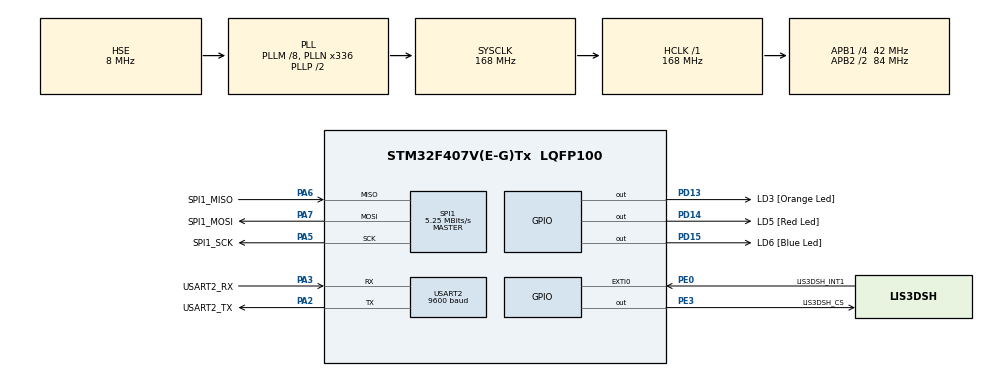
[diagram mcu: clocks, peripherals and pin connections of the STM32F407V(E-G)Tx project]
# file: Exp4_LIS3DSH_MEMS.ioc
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Mcu.Family=STM32F4
Mcu.Name=STM32F407V(E-G)Tx
Mcu.Package=LQFP100
NVIC.EXTI0_IRQn=true\:2\:0\:false\:false\:true\:true\:true\:true
NVIC.PriorityGroup=NVIC_PRIORITYGROUP_4
NVIC.USART2_IRQn=true\:1\:0\:false\:false\:true\:true\:true\:true
PA13.GPIO_Label=SWDIO
PA13.Signal=SYS_JTMS-SWDIO
PA14.GPIO_Label=SWCLK
PA14.Signal=SYS_JTCK-SWCLK
PA2.GPIO_Label=USART2_TX
PA2.GPIO_Mode=GPIO_MODE_AF_PP
PA2.GPIO_PuPd=GPIO_PULLUP
PA2.GPIO_Speed=GPIO_SPEED_FREQ_VERY_HIGH
PA2.Mode=Asynchronous
PA2.Signal=USART2_TX
PA3.GPIO_Label=USART2_RX
PA3.GPIO_Mode=GPIO_MODE_AF_PP
PA3.GPIO_PuPd=GPIO_PULLUP
PA3.GPIO_Speed=GPIO_SPEED_FREQ_VERY_HIGH
PA3.Mode=Asynchronous
PA3.Signal=USART2_RX
PA5.GPIO_Label=SPI1_SCK
PA5.GPIO_Mode=GPIO_MODE_AF_PP
PA5.GPIO_PuPd=GPIO_NOPULL
PA5.GPIO_Speed=GPIO_SPEED_FREQ_VERY_HIGH
PA5.Mode=Full_Duplex_Master
PA5.Signal=SPI1_SCK
PA6.GPIO_Label=SPI1_MISO
PA6.GPIO_Mode=GPIO_MODE_AF_PP
PA6.GPIO_PuPd=GPIO_NOPULL
PA6.GPIO_Speed=GPIO_SPEED_FREQ_VERY_HIGH
PA6.Mode=Full_Duplex_Master
PA6.Signal=SPI1_MISO
PA7.GPIO_Label=SPI1_MOSI
PA7.GPIO_Mode=GPIO_MODE_AF_PP
PA7.GPIO_PuPd=GPIO_NOPULL
PA7.GPIO_Speed=GPIO_SPEED_FREQ_VERY_HIGH
PA7.Mode=Full_Duplex_Master
PA7.Signal=SPI1_MOSI
PD13.GPIO_Label=LD3 [Orange Led]
PD13.GPIO_PuPd=GPIO_NOPULL
PD13.GPIO_Speed=GPIO_SPEED_FREQ_LOW
PD13.Signal=GPIO_Output
PD14.GPIO_Label=LD5 [Red Led]
PD14.GPIO_PuPd=GPIO_NOPULL
PD14.GPIO_Speed=GPIO_SPEED_FREQ_LOW
PD14.Signal=GPIO_Output
PD15.GPIO_Label=LD6 [Blue Led]
PD15.GPIO_PuPd=GPIO_NOPULL
PD15.GPIO_Speed=GPIO_SPEED_FREQ_LOW
PD15.Signal=GPIO_Output
PE0.GPIO_Label=LIS3DSH_INT1
PE0.GPIO_ModeDefaultEXTI=GPIO_MODE_IT_RISING
PE0.GPIO_PuPd=GPIO_PULLDOWN
PE0.GPIO_Speed=GPIO_SPEED_FREQ_VERY_HIGH
PE0.Signal=GPXTI0
PE3.GPIO_Label=LIS3DSH_CS
PE3.GPIO_PuPd=GPIO_NOPULL
PE3.GPIO_Speed=GPIO_SPEED_FREQ_VERY_HIGH
PE3.PinState=GPIO_PIN_SET
PE3.Signal=GPIO_Output
PH0-OSC_IN.GPIO_Label=PH0-OSC_IN
PH0-OSC_IN.Mode=HSE-External-Oscillator
PH0-OSC_IN.Signal=RCC_OSC_IN
PH1-OSC_OUT.GPIO_Label=PH1-OSC_OUT
PH1-OSC_OUT.Mode=HSE-External-Oscillator
PH1-OSC_OUT.Signal=RCC_OSC_OUT
ProjectManager.HeapSize=0x200
ProjectManager.StackSize=0x800
ProjectManager.TargetToolchain=MDK-ARM V5.32
RCC.48MHZClocksFreq_Value=48000000
RCC.AHBFreq_Value=168000000
RCC.APB1CLKDivider=RCC_HCLK_DIV4
RCC.APB1Freq_Value=42000000
RCC.APB1TimFreq_Value=84000000
RCC.APB2CLKDivider=RCC_HCLK_DIV2
RCC.APB2Freq_Value=84000000
RCC.APB2TimFreq_Value=168000000
RCC.CortexFreq_Value=168000000
RCC.HCLKFreq_Value=168000000
RCC.HSE_VALUE=8000000
RCC.HSI_VALUE=16000000
RCC.LSE_VALUE=32768
RCC.PLLM=8
RCC.PLLN=336
RCC.PLLP=RCC_PLLP_DIV2
RCC.PLLQ=7
RCC.PLLSourceVirtual=RCC_PLLSOURCE_HSE
RCC.SYSCLKFreq_VALUE=168000000
RCC.SYSCLKSource=RCC_SYSCLKSOURCE_PLLCLK
RCC.VCOOutputFreq_Value=336000000
RTC.AsynchPrediv=127
RTC.HourFormat=RTC_HOURFORMAT_24
RTC.SynchPrediv=249
SPI1.BaudRatePrescaler=SPI_BAUDRATEPRESCALER_16
SPI1.CLKPhase=SPI_PHASE_1EDGE
SPI1.CLKPolarity=SPI_POLARITY_LOW
SPI1.CalculateBaudRate=5.25 MBits/s
SPI1.DataSize=SPI_DATASIZE_8BIT
SPI1.Direction=SPI_DIRECTION_2LINES
SPI1.FirstBit=SPI_FIRSTBIT_MSB
SPI1.Mode=SPI_MODE_MASTER
SPI1.NSS=SPI_NSS_SOFT
SPI1.VirtualType=VM_MASTER
USART2.BaudRate=9600
USART2.Parity=PARITY_NONE
USART2.StopBits=STOPBITS_1
USART2.VirtualMode=VM_ASYNC
USART2.VirtualMode-Asynchronous=VM_ASYNC
USART2.WordLength=WORDLENGTH_8B
VP_RTC_VS_RTC_Activate.Mode=RTC_Enabled
board=custom

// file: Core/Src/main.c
/* USER CODE BEGIN Header */
/**
  ******************************************************************************
  * @file           : main.c
  * @brief          : 实验四（综合实验）LIS3DSH 加速度计 —— 简化版
  *
  *  只保留实验必需的功能，用户代码全部集中在本文件：
  *    1) SPI1 读 LIS3DSH：先读 WHO_AM_I 自检，再配置 100 Hz / ±2 g
  *    2) INT1(PE0) 数据就绪中断，主循环据此采样（20 ms 兜底轮询）
  *    3) 每 200 ms 通过 USART2(9600) 上传一行：RTC 时间 + 三轴 mg
  *    4) 自由落体 / 超阈值事件提示
  *    5) 串口命令：$0,1,YYMMDD,HHMMSS* 改时间；$0,5,0/1* 开关上传
  ******************************************************************************
  * @attention
  *
  * Copyright (c) 2026 STMicroelectronics.
  * All rights reserved.
  *
  * This software is licensed under terms that can be found in the LICENSE file
  * in the root directory of this software component.
  * If no LICENSE file comes with this software, it is provided AS-IS.
  *
  ******************************************************************************
  */
/* USER CODE END Header */
#include "main.h"
#include "rtc.h"
#include "spi.h"
#include "usart.h"
#include "gpio.h"

/* USER CODE BEGIN Includes */
#include <stdio.h>
/* USER CODE END Includes */

/* USER CODE BEGIN PD */
/* LIS3DSH 寄存器地址 */
#define WHO_AM_I      0x0F
#define CTRL_REG3     0x23    /* DRDY->INT1、INT1/INT2 引脚使能 */
#define CTRL_REG4     0x20    /* ODR、三轴使能 */
#define CTRL_REG5     0x24    /* 量程、滤波、SPI 线数 */
#define OUT_X_L       0x28    /* X/Y/Z 输出，共 6 字节 */

#define CS_LOW()      HAL_GPIO_WritePin(LIS3DSH_CS_GPIO_Port, LIS3DSH_CS_Pin, GPIO_PIN_RESET)
#define CS_HIGH()     HAL_GPIO_WritePin(LIS3DSH_CS_GPIO_Port, LIS3DSH_CS_Pin, GPIO_PIN_SET)

#define PRINT_MS      200     /* 上传周期 200 ms = 5 Hz */
#define SAMPLE_MS     20      /* INT1 不来时的兜底采样周期 */
/* USER CODE END PD */

/* USER CODE BEGIN PV */
static volatile uint8_t  s_drdy;        /* INT1 中断置 1：有新数据 */
static volatile uint32_t s_drdyCnt;     /* INT1 中断次数，用于统计 */
static volatile uint8_t  s_rxByte;      /* 串口收到的 1 个字节 */
static volatile uint8_t  s_cmdRdy;      /* 收到完整命令帧 */
static volatile uint32_t s_rxCnt;       /* 收到的字节数（诊断） */
static volatile uint32_t s_errCnt;      /* 串口错误次数（诊断） */
static char     s_cmd[32];
static uint8_t  s_cmdLen;
static uint8_t  s_inFrame;
static uint8_t  s_stream = 1;           /* 1 = 持续上传 */
/* USER CODE END PV */

void SystemClock_Config(void);
/* USER CODE BEGIN PFP */
static void LIS3DSH_Write(uint8_t reg, uint8_t val);
static void LIS3DSH_Read(uint8_t reg, uint8_t *buf, uint8_t len);
static uint8_t LIS3DSH_Init(void);
static void LIS3DSH_GetXYZ(int16_t *x, int16_t *y, int16_t *z);
static void Uart_Cmd(char *s);
/* USER CODE END PFP */

/* USER CODE BEGIN 0 */
#if defined(__CC_ARM)
#pragma import(__use_no_semihosting)     /* 不用半主机，printf 才能脱机工作 */
struct __FILE { int handle; };
FILE __stdout;
/* 半主机模式空实现（armcc 要求） */
void _sys_exit(int x) { (void)x; }
/* 半主机模式空实现（armcc 要求） */
void _ttywrch(int ch) { (void)ch; }
#endif

/* printf 重定向：阻塞发送 1 字节（9600 下一行约 40 ms） */
int fputc(int ch, FILE *f)
{
  (void)f;
  HAL_UART_Transmit(&huart2, (uint8_t *)&ch, 1, 10);
  return ch;
}

/* 写一个寄存器：地址 bit7 = 0 */
static void LIS3DSH_Write(uint8_t reg, uint8_t val)
{
  uint8_t buf[2] = { reg, val };
  CS_LOW();
  HAL_SPI_Transmit(&hspi1, buf, 2, 10);
  CS_HIGH();
}

/* 读 len 个寄存器：地址 bit7 = 1，逐字节读 */
static void LIS3DSH_Read(uint8_t reg, uint8_t *buf, uint8_t len)
{
  uint8_t i;
  for (i = 0; i < len; i++)
  {
    uint8_t tx[2] = { (uint8_t)(reg + i) | 0x80, 0x00 };
    uint8_t rx[2];
    CS_LOW();
    HAL_SPI_TransmitReceive(&hspi1, tx, rx, 2, 10);
    CS_HIGH();
    buf[i] = rx[1];
  }
}

/* 初始化：ID 自检 + ±2 g + 100 Hz + 三轴 + DRDY 中断到 INT1 */
static uint8_t LIS3DSH_Init(void)
{
  uint8_t id = 0;
  LIS3DSH_Read(WHO_AM_I, &id, 1);
  if (id != 0x3F)
  {
    return 0;
  }
  LIS3DSH_Write(CTRL_REG5, 0x00);   /* ±2 g，800 Hz，4 线 SPI */
  LIS3DSH_Write(CTRL_REG4, 0x67);   /* 100 Hz，XYZ 使能 */
  LIS3DSH_Write(CTRL_REG3, 0xF8);   /* DRDY->INT1，高有效脉冲，INT1/INT2 使能 */
  return 1;
}

/* 读三轴，换算成 mg（±2 g：0.06 mg/LSB，即 raw*6/100） */
static void LIS3DSH_GetXYZ(int16_t *x, int16_t *y, int16_t *z)
{
  uint8_t b[6];
  LIS3DSH_Read(OUT_X_L, b, 6);
  *x = (int16_t)(((uint16_t)b[1] << 8) | b[0]) * 6 / 100;
  *y = (int16_t)(((uint16_t)b[3] << 8) | b[2]) * 6 / 100;
  *z = (int16_t)(((uint16_t)b[5] << 8) | b[4]) * 6 / 100;
}

/* 执行一条命令：帧内容形如 "0,5,1" 或 "0,1,251120,120000" */
static void Uart_Cmd(char *s)
{
  int addr, code, ymd = 0, hms = 0;

  if (sscanf(s, "%d,%d,%d,%d", &addr, &code, &ymd, &hms) < 2)
  {
    return;
  }
  (void)addr;

  if (code == 5)                                  /* 开关上传 */
  {
    s_stream = (ymd != 0) ? 1 : 0;
    HAL_GPIO_WritePin(GPIOD, LD3_Pin, s_stream ? GPIO_PIN_SET : GPIO_PIN_RESET);
    printf("[CMD] stream %s\r\n", s_stream ? "ON" : "OFF");
  }
  else if (code == 1)                             /* 改 RTC 时间 */
  {
    RTC_TimeTypeDef t = {0};
    RTC_DateTypeDef d = {0};
    if (ymd < 100000 || hms < 100000)
    {
      return;
    }
    t.Hours = hms / 10000;
    t.Minutes = hms % 10000 / 100;
    t.Seconds = hms % 100;
    t.DayLightSaving = RTC_DAYLIGHTSAVING_NONE;
    t.StoreOperation = RTC_STOREOPERATION_RESET;
    d.Year = ymd / 10000;
    d.Month = ymd % 10000 / 100;
    d.Date = ymd % 100;
    d.WeekDay = RTC_WEEKDAY_MONDAY;               /* 星期不影响走时，固定值 */
    HAL_RTC_SetTime(&hrtc, &t, RTC_FORMAT_BIN);
    HAL_RTC_SetDate(&hrtc, &d, RTC_FORMAT_BIN);
    printf("[RTC] 20%02d-%02d-%02d %02d:%02d:%02d\r\n",
           d.Year, d.Month, d.Date, t.Hours, t.Minutes, t.Seconds);
  }
}
/* USER CODE END 0 */

/* 主函数：初始化外设 -> 传感器自检 -> 主循环（采样 / 上传 / 事件 / 命令） */
int main(void)
{

  /* USER CODE BEGIN 1 */
  int16_t x = 0, y = 0, z = 0;
  uint32_t lastSample, lastPrint, lastStat, ffTick = 0, hgTick = 0, evtTick = 0;
  RTC_TimeTypeDef t;
  RTC_DateTypeDef d;
  /* USER CODE END 1 */

  /* MCU Configuration--------------------------------------------------------*/

  /* Reset of all peripherals, Initializes the Flash interface and the Systick. */
  HAL_Init();

  /* Configure the system clock */
  SystemClock_Config();

  /* Initialize all configured peripherals */
  MX_GPIO_Init();
  MX_RTC_Init();
  MX_SPI1_Init();
  MX_USART2_UART_Init();
  /* USER CODE BEGIN 2 */
  /* RTC 上电给一个初始时间：2025-11-20 09:00:00 */
  {
    RTC_TimeTypeDef t0 = {0};
    RTC_DateTypeDef d0 = {0};
    t0.Hours = 9; t0.Minutes = 0; t0.Seconds = 0;
    t0.DayLightSaving = RTC_DAYLIGHTSAVING_NONE;
    t0.StoreOperation = RTC_STOREOPERATION_RESET;
    d0.WeekDay = RTC_WEEKDAY_THURSDAY;
    d0.Month = RTC_MONTH_NOVEMBER; d0.Date = 20; d0.Year = 25;
    HAL_RTC_SetTime(&hrtc, &t0, RTC_FORMAT_BIN);
    HAL_RTC_SetDate(&hrtc, &d0, RTC_FORMAT_BIN);
  }

  printf("\r\n** Experiment 4: LIS3DSH accelerometer **\r\n");
  printf("SPI1: PA5/PA6/PA7  CS=PE3  INT1=PE0\r\n");
  printf("USART2: 9600-8-N-1, data 5 Hz\r\n");

  if (LIS3DSH_Init() == 0)
  {
    printf("[ERR] WHO_AM_I != 0x3F, check SPI1/CS wiring\r\n");
    while (1)                              /* 自检失败：LD5 慢闪 */
    {
      HAL_GPIO_TogglePin(GPIOD, LD5_Pin);
      HAL_Delay(200);
    }
  }
  printf("[OK] LIS3DSH ready: 100 Hz, +-2 g\r\n");
  HAL_GPIO_WritePin(GPIOD, LD3_Pin, GPIO_PIN_SET);       /* LD3：上传中 */

  HAL_UART_Receive_IT(&huart2, (uint8_t *)&s_rxByte, 1); /* 开串口接收中断 */

  lastSample = lastPrint = lastStat = HAL_GetTick();
  /* USER CODE END 2 */

  /* Infinite loop */
  /* USER CODE BEGIN WHILE */
  while (1)
  {
    uint32_t now = HAL_GetTick();

    /* 0) 兜底：接收中断若因错误停摆，这里重新挂上 */
    if (huart2.RxState == HAL_UART_STATE_READY)
    {
      HAL_UART_Receive_IT(&huart2, (uint8_t *)&s_rxByte, 1);
    }

    /* 1) 采样：INT1 触发；20 ms 没中断就自己读一次（INT1 没接也能用） */
    if (s_drdy || (now - lastSample) >= SAMPLE_MS)
    {
      s_drdy = 0;
      lastSample = now;
      LIS3DSH_GetXYZ(&x, &y, &z);

      /* 自由落体：合加速度 < 300 mg（用平方比较，省去开方） */
      if ((int32_t)x * x + (int32_t)y * y + (int32_t)z * z < 300L * 300L)
      {
        if (now - ffTick > 2000)
        {
          ffTick = now;
          printf("[EVT] FREE-FALL\r\n");
          HAL_GPIO_WritePin(GPIOD, LD5_Pin, GPIO_PIN_SET);
          evtTick = now;
        }
      }
      /* 超阈值：任一轴 > 1.5 g */
      if ((x > 1500) || (x < -1500) || (y > 1500) || (y < -1500) ||
          (z > 1500) || (z < -1500))
      {
        if (now - hgTick > 1000)
        {
          hgTick = now;
          printf("[EVT] HIGH-G X=%d Y=%d Z=%d\r\n", x, y, z);
          HAL_GPIO_WritePin(GPIOD, LD5_Pin, GPIO_PIN_SET);
          evtTick = now;
        }
      }
    }

    /* 2) 每 200 ms 上传一行：RTC 时间 + 三轴 mg */
    if (s_stream && (now - lastPrint) >= PRINT_MS)
    {
      lastPrint = now;
      HAL_RTC_GetTime(&hrtc, &t, RTC_FORMAT_BIN);
      HAL_RTC_GetDate(&hrtc, &d, RTC_FORMAT_BIN);
      printf("%02d:%02d:%02d  X=%+05d Y=%+05d Z=%+05d mg\r\n",
             t.Hours, t.Minutes, t.Seconds, x, y, z);
    }

    /* 3) 执行串口命令（中断里只收帧，解析放主循环） */
    if (s_cmdRdy)
    {
      s_cmdRdy = 0;
      Uart_Cmd(s_cmd);
    }

    /* 4) LED：LD6 亮表示 INT1 中断正常；LD5 事件亮 300 ms */
    HAL_GPIO_WritePin(GPIOD, LD6_Pin, s_drdyCnt ? GPIO_PIN_SET : GPIO_PIN_RESET);
    if (evtTick && (now - evtTick) > 300)
    {
      evtTick = 0;
      HAL_GPIO_WritePin(GPIOD, LD5_Pin, GPIO_PIN_RESET);
    }

    /* 5) 每 10 s 报一次 INT1 中断次数，可用来核对 100 Hz */
    if ((now - lastStat) >= 10000)
    {
      lastStat = now;
      printf("[STAT] drdy=%lu rx=%lu err=%lu\r\n",
             (unsigned long)s_drdyCnt, (unsigned long)s_rxCnt, (unsigned long)s_errCnt);
    }
    /* USER CODE END WHILE */

  }
}

/* 系统时钟配置：HSE 8 MHz 经 PLL 倍频到 168 MHz（APB1=42M，APB2=84M） */
void SystemClock_Config(void)
{
  RCC_OscInitTypeDef RCC_OscInitStruct = {0};
  RCC_ClkInitTypeDef RCC_ClkInitStruct = {0};

  /** Configure the main internal regulator output voltage
  */
  __HAL_RCC_PWR_CLK_ENABLE();
  __HAL_PWR_VOLTAGESCALING_CONFIG(PWR_REGULATOR_VOLTAGE_SCALE1);

  /** Initializes the RCC Oscillators according to the specified parameters
  * in the RCC_OscInitTypeDef structure.
  */
  RCC_OscInitStruct.OscillatorType = RCC_OSCILLATORTYPE_LSI|RCC_OSCILLATORTYPE_HSE;
  RCC_OscInitStruct.HSEState = RCC_HSE_ON;
  RCC_OscInitStruct.LSIState = RCC_LSI_ON;
  RCC_OscInitStruct.PLL.PLLState = RCC_PLL_ON;
  RCC_OscInitStruct.PLL.PLLSource = RCC_PLLSOURCE_HSE;
  RCC_OscInitStruct.PLL.PLLM = 8;
  RCC_OscInitStruct.PLL.PLLN = 336;
  RCC_OscInitStruct.PLL.PLLP = RCC_PLLP_DIV2;
  RCC_OscInitStruct.PLL.PLLQ = 7;
  if (HAL_RCC_OscConfig(&RCC_OscInitStruct) != HAL_OK)
  {
    Error_Handler();
  }

  /** Initializes the CPU, AHB and APB buses clocks
  */
  RCC_ClkInitStruct.ClockType = RCC_CLOCKTYPE_HCLK|RCC_CLOCKTYPE_SYSCLK
                              |RCC_CLOCKTYPE_PCLK1|RCC_CLOCKTYPE_PCLK2;
  RCC_ClkInitStruct.SYSCLKSource = RCC_SYSCLKSOURCE_PLLCLK;
  RCC_ClkInitStruct.AHBCLKDivider = RCC_SYSCLK_DIV1;
  RCC_ClkInitStruct.APB1CLKDivider = RCC_HCLK_DIV4;
  RCC_ClkInitStruct.APB2CLKDivider = RCC_HCLK_DIV2;

  if (HAL_RCC_ClockConfig(&RCC_ClkInitStruct, FLASH_LATENCY_5) != HAL_OK)
  {
    Error_Handler();
  }
}

/* USER CODE BEGIN 4 */
/* INT1(PE0) 上升沿：只置标志、计数，不做耗时操作 */
void HAL_GPIO_EXTI_Callback(uint16_t GPIO_Pin)
{
  if (GPIO_Pin == LIS3DSH_INT1_Pin)
  {
    s_drdy = 1;
    s_drdyCnt++;
  }
}

/* 串口收 1 字节：组帧 $...*，收满置标志，主循环解析 */
void HAL_UART_RxCpltCallback(UART_HandleTypeDef *huart)
{
  uint8_t c = s_rxByte;
  if (c == '$')
  {
    s_inFrame = 1;
    s_cmdLen = 0;
  }
  else if (s_inFrame && c == '*')
  {
    s_inFrame = 0;
    s_cmd[s_cmdLen] = '\0';
    s_cmdRdy = 1;
  }
  else if (s_inFrame && s_cmdLen < sizeof(s_cmd) - 1)
  {
    s_cmd[s_cmdLen++] = (char)c;
  }
  s_rxCnt++;
  HAL_UART_Receive_IT(&huart2, (uint8_t *)&s_rxByte, 1);
}

/* 串口出错（溢出/噪声）：清标志并重新挂接收，避免接收永久停摆 */
void HAL_UART_ErrorCallback(UART_HandleTypeDef *huart)
{
  (void)huart;
  s_errCnt++;
  __HAL_UART_CLEAR_OREFLAG(&huart2);
  HAL_UART_Receive_IT(&huart2, (uint8_t *)&s_rxByte, 1);
}
/* USER CODE END 4 */

/* 错误兜底：关中断并停在这里，方便调试器定位 */
void Error_Handler(void)
{
  __disable_irq();
  while (1)
  {
  }
}
#ifdef USE_FULL_ASSERT
/**
  * @brief  Reports the name of the source file and the source line number
  *         where the assert_param error has occurred.
  * @param  file: pointer to the source file name
  * @param  line: assert_param error line source number
  * @retval None
  */
/* 参数断言失败回调（仅 USE_FULL_ASSERT 打开时使用） */
void assert_failed(uint8_t *file, uint32_t line)
{
  /* USER CODE BEGIN 6 */
  (void)file;
  (void)line;
  /* USER CODE END 6 */
}
#endif /* USE_FULL_ASSERT */
